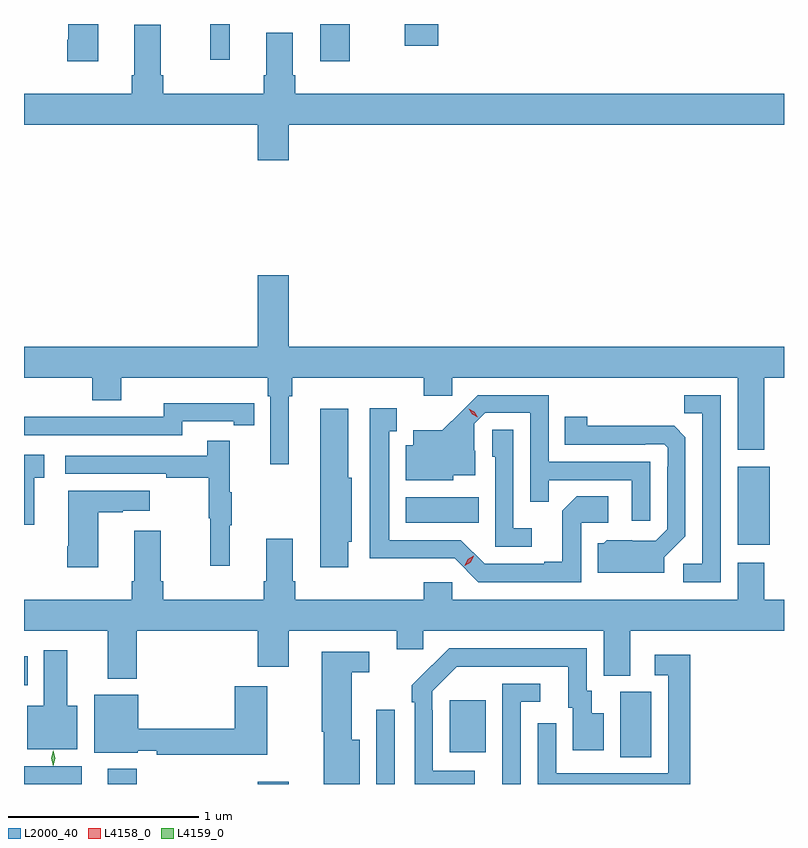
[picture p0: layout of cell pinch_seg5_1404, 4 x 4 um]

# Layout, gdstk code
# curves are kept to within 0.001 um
import gdstk
lib = gdstk.Library(unit=1e-6, precision=1e-09)
def R(c, l, rs):  # rectangles x0, y0, x1, y1
    for r in rs: c.add(gdstk.rectangle(r[:2], r[2:], *l))
def P(c, l, *ps):  # polygons
    for p in ps: c.add(gdstk.Polygon(p, *l))
L2000_40 = (2000, 40)
L4158_0 = (4158, 0)
L4159_0 = (4159, 0)

pinch_seg5_1404 = lib.new_cell('pinch_seg5_1404')
R(pinch_seg5_1404, L2000_40, [(115.826,893.25,116.131,893.344), (116.267,893.25,116.42,893.329), (117.056,893.25,117.22,893.263), (117.681,893.25,117.777,893.641), (118.964,893.392,119.128,893.736), (118.067,893.417,118.255,893.692), (115.826,893.771,115.846,893.923), (119.582,894.51,119.752,894.919), (117.836,894.626,118.22,894.76), (117.386,897.054,117.54,897.25), (116.806,897.063,116.909,897.25), (117.829,897.135,118.007,897.25)])
P(pinch_seg5_1404, L2000_40, [(116.218,897.25),(116.06,897.25),(116.06,897.166),(116.053,897.166),(116.053,897.054),(116.218,897.054)],
  [(117.22,896.72),(119.826,896.72),(119.826,896.884),(117.254,896.884),(117.254,896.98),(117.241,896.98),(117.241,897.205),(117.101,897.205),(117.101,896.98),(117.089,896.98),(117.089,896.884),(116.558,896.884),(116.558,896.98),(116.545,896.98),(116.545,897.247),(116.405,897.247),(116.405,896.98),(116.393,896.98),(116.393,896.884),(115.826,896.884),(115.826,896.72),(117.056,896.72),(117.056,896.532),(117.22,896.532)],
  [(117.22,895.292),(117.239,895.292),(117.239,895.388),(117.929,895.388),(117.929,895.293),(118.08,895.293),(118.08,895.388),(119.582,895.388),(119.582,895.008),(119.722,895.008),(119.722,895.388),(119.826,895.388),(119.826,895.552),(117.22,895.552),(117.22,895.927),(117.056,895.927),(117.056,895.552),(115.826,895.552),(115.826,895.388),(116.186,895.388),(116.186,895.271),(116.338,895.271),(116.338,895.388),(117.11,895.388),(117.11,895.292),(117.123,895.292),(117.123,894.933),(117.22,894.933)],
  [(119.493,895.296),(119.302,895.296),(119.302,895.201),(119.397,895.201),(119.397,894.408),(119.295,894.408),(119.295,894.312),(119.493,894.312)],
  [(119.121,894.945),(118.587,894.945),(118.587,895.296),(118.214,895.296),(118.027,895.111),(117.875,895.111),(117.875,895.033),(117.836,895.033),(117.836,894.848),(118.086,894.848),(118.086,894.875),(118.201,894.875),(118.201,895.004),(118.197,895.004),(118.197,895.146),(118.254,895.203),(118.491,895.203),(118.491,894.736),(118.589,894.736),(118.589,894.849),(119.025,894.849),(119.025,894.636),(119.121,894.636)],
  [(116.658,895.158),(116.93,895.158),(116.93,895.138),(117.038,895.138),(117.038,895.254),(116.93,895.254),(116.93,895.255),(116.562,895.255),(116.562,895.182),(116.102,895.182),(116.102,895.184),(115.826,895.184),(115.826,895.086),(116.658,895.086)],
  [(118.758,894.624),(118.9,894.624),(118.9,894.764),(118.735,894.764),(118.659,894.688),(118.659,894.421),(118.565,894.421),(118.565,894.408),(118.251,894.408),(118.125,894.534),(117.748,894.534),(117.748,895.107),(117.787,895.107),(117.787,895.228),(117.647,895.228),(117.647,894.437),(118.092,894.438),(118.218,894.312),(118.758,894.312)],
  [(117.532,894.525),(117.55,894.525),(117.55,894.861),(117.532,894.861),(117.532,895.225),(117.386,895.225),(117.386,894.39),(117.532,894.39)],
  [(119.197,894.444),(119.307,894.554),(119.307,895.076),(119.248,895.135),(118.791,895.136),(118.791,895.183),(118.672,895.183),(118.672,895.035),(119.096,895.035),(119.096,895.038),(119.196,895.038),(119.214,895.02),(119.214,894.92),(119.211,894.92),(119.211,894.591),(119.151,894.531),(118.894,894.532),(118.878,894.516),(118.847,894.516),(118.847,894.362),(119.197,894.362)],
  [(118.498,894.595),(118.401,894.595),(118.401,895.115),(118.29,895.115),(118.29,894.972),(118.305,894.972),(118.305,894.498),(118.498,894.498)],
  [(116.909,894.611),(116.92,894.611),(116.92,894.785),(116.909,894.785),(116.909,895.057),(116.791,895.057),(116.791,894.978),(116.043,894.978),(116.043,894.882),(116.575,894.882),(116.575,894.862),(116.799,894.862),(116.799,894.648),(116.806,894.648),(116.806,894.399),(116.909,894.399)],
  [(115.88,894.861),(115.933,894.861),(115.933,894.982),(115.826,894.982),(115.826,894.615),(115.88,894.615)],
  [(116.218,894.679),(116.345,894.679),(116.345,894.689),(116.488,894.689),(116.488,894.793),(116.06,894.793),(116.06,894.502),(116.053,894.502),(116.053,894.39),(116.218,894.39)],
  [(116.42,894.056),(117.056,894.056),(117.056,893.868),(117.22,893.868),(117.22,894.056),(117.788,894.056),(117.788,893.958),(117.927,893.958),(117.927,894.056),(118.877,894.056),(118.877,893.821),(119.017,893.821),(119.017,894.056),(119.826,894.056),(119.826,894.22),(119.722,894.22),(119.722,894.415),(119.582,894.415),(119.582,894.22),(118.08,894.22),(118.08,894.313),(117.929,894.313),(117.929,894.22),(117.254,894.22),(117.254,894.316),(117.241,894.316),(117.241,894.541),(117.101,894.541),(117.101,894.316),(117.089,894.316),(117.089,894.22),(116.558,894.22),(116.558,894.316),(116.545,894.316),(116.545,894.583),(116.405,894.583),(116.405,894.316),(116.393,894.316),(116.393,894.22),(115.826,894.22),(115.826,894.056),(116.267,894.056),(116.267,893.804),(116.42,893.804)],
  [(118.198,893.319),(117.978,893.319),(117.978,893.639),(117.975,893.639),(117.975,893.739),(118.104,893.868),(118.691,893.868),(118.691,893.652),(118.715,893.652),(118.715,893.427),(118.876,893.427),(118.876,893.623),(118.813,893.623),(118.813,893.742),(118.788,893.742),(118.788,893.964),(118.064,893.964),(117.867,893.769),(117.867,893.681),(117.882,893.681),(117.882,893.25),(118.198,893.25)],
  [(116.107,893.662),(116.053,893.662),(116.053,893.953),(115.931,893.953),(115.931,893.662),(115.844,893.662),(115.844,893.432),(116.107,893.432)],
  [(117.592,893.482),(117.55,893.482),(117.55,893.838),(117.643,893.838),(117.643,893.946),(117.392,893.946),(117.392,893.526),(117.404,893.526),(117.404,893.25),(117.592,893.25)],
  [(119.333,893.929),(119.145,893.929),(119.145,893.823),(119.217,893.823),(119.217,893.307),(118.626,893.307),(118.626,893.569),(118.53,893.569),(118.53,893.314),(118.531,893.314),(118.531,893.25),(119.333,893.25)],
  [(118.44,893.682),(118.543,893.682),(118.543,893.778),(118.344,893.778),(118.344,893.321),(118.343,893.321),(118.343,893.25),(118.44,893.25)],
  [(117.106,893.764),(116.936,893.764),(116.936,893.54),(116.428,893.54),(116.428,893.719),(116.195,893.719),(116.195,893.414),(116.424,893.414),(116.424,893.424),(116.524,893.424),(116.524,893.404),(117.106,893.404)])
P(pinch_seg5_1404, L4158_0, [(118.214,895.18),(118.184,895.196),(118.167,895.225),(118.167,895.226),(118.167,895.226),(118.197,895.21),(118.215,895.181),(118.215,895.18)],
  [(118.145,894.399),(118.145,894.4),(118.162,894.432),(118.194,894.451),(118.194,894.451),(118.194,894.451),(118.177,894.418),(118.145,894.399)])
P(pinch_seg5_1404, L4159_0, [(115.979,893.346),(115.979,893.346),(115.97,893.386),(115.979,893.427),(115.979,893.427),(115.98,893.427),(115.99,893.386),(115.98,893.346)])

lib.write_gds('pinch_seg5_1404.gds')
